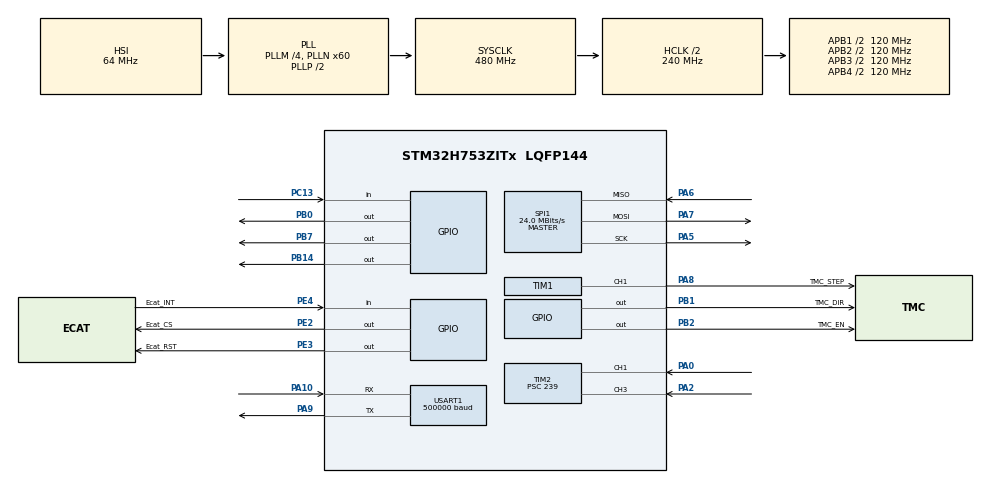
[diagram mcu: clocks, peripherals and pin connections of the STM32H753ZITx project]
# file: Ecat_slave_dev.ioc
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CORTEX_M7.AccessPermission_Spec=MPU_REGION_FULL_ACCESS
CORTEX_M7.BaseAddress_Spec=0x20000000
CORTEX_M7.CPU_DCache=Disabled
CORTEX_M7.CPU_ICache=Disabled
CORTEX_M7.MPU_Control=MPU_HFNMI_PRIVDEF
CORTEX_M7.Size_Spec=MPU_REGION_SIZE_32KB
CORTEX_M7.SubRegionDisable_Spec=0x00
CORTEX_M7.TypeExtField_Spec=MPU_TEX_LEVEL1
CORTEX_M7.default_mode_Activation=1
Dma.Request0=USART1_RX
Dma.Request1=USART1_TX
Dma.USART1_RX.0.Direction=DMA_PERIPH_TO_MEMORY
Dma.USART1_RX.0.EventEnable=DISABLE
Dma.USART1_RX.0.FIFOMode=DMA_FIFOMODE_DISABLE
Dma.USART1_RX.0.Instance=DMA1_Stream0
Dma.USART1_RX.0.MemDataAlignment=DMA_MDATAALIGN_BYTE
Dma.USART1_RX.0.MemInc=DMA_MINC_ENABLE
Dma.USART1_RX.0.Mode=DMA_NORMAL
Dma.USART1_RX.0.PeriphDataAlignment=DMA_PDATAALIGN_BYTE
Dma.USART1_RX.0.PeriphInc=DMA_PINC_DISABLE
Dma.USART1_RX.0.Polarity=HAL_DMAMUX_REQ_GEN_RISING
Dma.USART1_RX.0.Priority=DMA_PRIORITY_VERY_HIGH
Dma.USART1_RX.0.RequestNumber=1
Dma.USART1_RX.0.SignalID=NONE
Dma.USART1_RX.0.SyncEnable=DISABLE
Dma.USART1_RX.0.SyncPolarity=HAL_DMAMUX_SYNC_NO_EVENT
Dma.USART1_RX.0.SyncRequestNumber=1
Dma.USART1_RX.0.SyncSignalID=NONE
Dma.USART1_TX.1.Direction=DMA_MEMORY_TO_PERIPH
Dma.USART1_TX.1.EventEnable=DISABLE
Dma.USART1_TX.1.FIFOMode=DMA_FIFOMODE_DISABLE
Dma.USART1_TX.1.Instance=DMA1_Stream1
Dma.USART1_TX.1.MemDataAlignment=DMA_MDATAALIGN_BYTE
Dma.USART1_TX.1.MemInc=DMA_MINC_ENABLE
Dma.USART1_TX.1.Mode=DMA_NORMAL
Dma.USART1_TX.1.PeriphDataAlignment=DMA_PDATAALIGN_BYTE
Dma.USART1_TX.1.PeriphInc=DMA_PINC_DISABLE
Dma.USART1_TX.1.Polarity=HAL_DMAMUX_REQ_GEN_RISING
Dma.USART1_TX.1.Priority=DMA_PRIORITY_VERY_HIGH
Dma.USART1_TX.1.RequestNumber=1
Dma.USART1_TX.1.SignalID=NONE
Dma.USART1_TX.1.SyncEnable=DISABLE
Dma.USART1_TX.1.SyncPolarity=HAL_DMAMUX_SYNC_NO_EVENT
Dma.USART1_TX.1.SyncRequestNumber=1
Dma.USART1_TX.1.SyncSignalID=NONE
Mcu.Family=STM32H7
Mcu.Name=STM32H753ZITx
Mcu.Package=LQFP144
NUCLEO-H753ZI.BUTTON=1
NUCLEO-H753ZI.Bsp_Common_DEMO=true
NUCLEO-H753ZI.LD1=true
NUCLEO-H753ZI.LD2=true
NUCLEO-H753ZI.LD3=true
NUCLEO-H753ZI.VCP=true
NVIC.DMA1_Stream0_IRQn=true\:0\:0\:false\:false\:true\:false\:true\:true
NVIC.DMA1_Stream1_IRQn=true\:0\:0\:false\:false\:true\:false\:true\:true
NVIC.EXTI15_10_IRQn=true\:0\:0\:false\:false\:true\:false\:true\:true
NVIC.PriorityGroup=NVIC_PRIORITYGROUP_4
NVIC.TIM1_CC_IRQn=true\:0\:0\:false\:false\:true\:true\:true\:true
NVIC.TIM2_IRQn=true\:0\:0\:false\:false\:true\:true\:true\:true
NVIC.USART1_IRQn=true\:0\:0\:false\:false\:true\:true\:true\:true
PA0.Signal=S_TIM2_CH1_ETR
PA10.GPIO_PuPd=GPIO_PULLUP
PA10.GPIO_Speed=GPIO_SPEED_FREQ_VERY_HIGH
PA10.Mode=Asynchronous
PA10.Signal=USART1_RX
PA13\ (JTMS/SWDIO).Mode=JTAG_5_pins
PA13\ (JTMS/SWDIO).Signal=DEBUG_JTMS-SWDIO
PA14\ (JTCK/SWCLK).Mode=JTAG_5_pins
PA14\ (JTCK/SWCLK).Signal=DEBUG_JTCK-SWCLK
PA15\ (JTDI).Mode=JTAG_5_pins
PA15\ (JTDI).Signal=DEBUG_JTDI
PA2.Signal=S_TIM2_CH3
PA5.GPIO_Speed=GPIO_SPEED_FREQ_MEDIUM
PA5.Mode=Full_Duplex_Master
PA5.Signal=SPI1_SCK
PA6.GPIO_Speed=GPIO_SPEED_FREQ_LOW
PA6.Mode=Full_Duplex_Master
PA6.Signal=SPI1_MISO
PA7.GPIO_Speed=GPIO_SPEED_FREQ_MEDIUM
PA7.Mode=Full_Duplex_Master
PA7.Signal=SPI1_MOSI
PA8.GPIO_Label=TMC_STEP
PA8.Signal=S_TIM1_CH1
PA9.GPIO_ModeDefaultOD=GPIO_MODE_AF_PP
PA9.GPIO_PuPd=GPIO_PULLUP
PA9.GPIO_Speed=GPIO_SPEED_FREQ_VERY_HIGH
PA9.Mode=Asynchronous
PA9.Signal=USART1_TX
PB0.Signal=GPIO_Output
PB1.GPIO_Label=TMC_DIR
PB1.Signal=GPIO_Output
PB14.Signal=GPIO_Output
PB2.GPIO_Label=TMC_EN
PB2.PinState=GPIO_PIN_SET
PB2.Signal=GPIO_Output
PB3\ (JTDO/TRACESWO).Mode=JTAG_5_pins
PB3\ (JTDO/TRACESWO).Signal=DEBUG_JTDO-SWO
PB4\ (NJTRST).Mode=JTAG_5_pins
PB4\ (NJTRST).Signal=DEBUG_JTRST
PB7.Signal=GPIO_Output
PC13.Signal=GPIO_Input
PC14-OSC32_IN\ (OSC32_IN).Signal=RCC_OSC32_IN
PC15-OSC32_OUT\ (OSC32_OUT).Signal=RCC_OSC32_OUT
PD8.Signal=USART3_TX
PD9.Signal=USART3_RX
PE2.GPIO_Label=Ecat_CS
PE2.PinState=GPIO_PIN_SET
PE2.Signal=GPIO_Output
PE3.GPIO_Label=Ecat_RST
PE3.GPIO_PuPd=GPIO_PULLUP
PE3.PinState=GPIO_PIN_SET
PE3.Signal=GPIO_Output
PE4.GPIO_Label=Ecat_INT
PE4.Signal=GPIO_Input
PH0-OSC_IN\ (PH0).Signal=RCC_OSC_IN
PH1-OSC_OUT\ (PH1).Signal=RCC_OSC_OUT
ProjectManager.HeapSize=0x200
ProjectManager.StackSize=0x400
ProjectManager.TargetToolchain=STM32CubeIDE
RCC.ADCFreq_Value=129000000
RCC.APB1Freq_Value=120000000
RCC.APB2Freq_Value=120000000
RCC.APB3Freq_Value=120000000
RCC.APB4Freq_Value=120000000
RCC.CortexFreq_Value=480000000
RCC.D1PPRE=RCC_APB3_DIV2
RCC.D2PPRE1=RCC_APB1_DIV2
RCC.D2PPRE2=RCC_APB2_DIV2
RCC.D3PPRE=RCC_APB4_DIV2
RCC.DIVM1=4
RCC.DIVN1=60
RCC.DIVQ1=5
RCC.DIVR1=6
RCC.HCLKFreq_Value=240000000
RCC.HPRE=RCC_HCLK_DIV2
RCC.HSE_VALUE=8000000
RCC.PLL2FRACN=0
RCC.PLL3FRACN=0
RCC.PLLFRACN=0
RCC.PWR_Regulator_Voltage_Scale=PWR_REGULATOR_VOLTAGE_SCALE0
RCC.SYSCLKFreq_VALUE=480000000
RCC.SYSCLKSource=RCC_SYSCLKSOURCE_PLLCLK
RCC.USBFreq_Value=192000000
SH.S_TIM1_CH1.0=TIM1_CH1,PWM Generation1 CH1
SH.S_TIM2_CH1_ETR.0=TIM2_CH1,Input_Capture1_from_TI1
SH.S_TIM2_CH3.0=TIM2_CH3,Input_Capture3_from_TI3
SPI1.BaudRatePrescaler=SPI_BAUDRATEPRESCALER_8
SPI1.CLKPhase=SPI_PHASE_2EDGE
SPI1.CLKPolarity=SPI_POLARITY_HIGH
SPI1.CalculateBaudRate=24.0 MBits/s
SPI1.DataSize=SPI_DATASIZE_8BIT
SPI1.Direction=SPI_DIRECTION_2LINES
SPI1.Mode=SPI_MODE_MASTER
SPI1.NSSPMode=SPI_NSS_PULSE_DISABLE
SPI1.VirtualType=VM_MASTER
TIM1.AutoReloadPreload=TIM_AUTORELOAD_PRELOAD_ENABLE
TIM1.Channel-PWM\ Generation1\ CH1=TIM_CHANNEL_1
TIM1.Period=11999
TIM1.TIM_MasterOutputTrigger=TIM_TRGO_UPDATE
TIM2.AutoReloadPreload=TIM_AUTORELOAD_PRELOAD_ENABLE
TIM2.Channel-Input_Capture1_from_TI1=TIM_CHANNEL_1
TIM2.Channel-Input_Capture3_from_TI3=TIM_CHANNEL_3
TIM2.Period=999
TIM2.Prescaler=239
USART1.BaudRate=500000
USART1.FIFOMode=FIFOMODE_DISABLE
USART1.RXFIFOThreshold=RXFIFO_THRESHOLD_HALFFULL
USART1.TXFIFOThreshold=TXFIFO_THRESHOLD_1QUARTERFULL
USART1.VirtualMode-Asynchronous=VM_ASYNC
VP_MEMORYMAP_VS_MEMORYMAP.Mode=CurAppReg
VP_NUCLEO-H753ZI_VS_BSP_COMMON.Mode=COMMON
VP_TIM1_VS_ClockSourceINT.Mode=Internal
VP_TIM3_VS_ClockSourceITR.Mode=TriggerSource_ITR0
VP_TIM3_VS_ControllerModeClock.Mode=Clock Mode
board=NUCLEO-H753ZI

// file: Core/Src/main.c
/* USER CODE BEGIN Header */
/**
  ******************************************************************************
  * @file           : main.c
  * @brief          : Main program body
  ******************************************************************************
  * @attention
  *
  * Copyright (c) 2026 STMicroelectronics.
  * All rights reserved.
  *
  * This software is licensed under terms that can be found in the LICENSE file
  * in the root directory of this software component.
  * If no LICENSE file comes with this software, it is provided AS-IS.
  *
  ******************************************************************************
  */
/* USER CODE END Header */
#include "main.h"

/* USER CODE BEGIN Includes */
#include "ecat_slv.h"
#include "utypes.h"
#include "TMC2209_usart.h"
#include "global.h"
/* USER CODE END Includes */

/* USER CODE BEGIN PTD */
// 1. 모터 음계 VACTUAL 속도 정의 (4옥타브 기준 주파수 계산값)
#define NOTE_C 94000   // 도
#define NOTE_D 105000  // 레
#define NOTE_E 118000  // 미
#define NOTE_G 140000  // 솔
#define REST   0       // 쉼표 (정지)

#define NOTE_A3 78000
#define NOTE_B3 88000
#define NOTE_C4 93000
#define NOTE_D4 105000
#define NOTE_E4 118000
#define NOTE_G4 140000
#define NOTE_A4 157000
#define REST    0
#define DRV_ERROR_MASK 0xFE0 // 이 비트들 중 1개라도 1인 경우 구동에 문제가 생기는 하드웨어적 오류임

// 2. 비행기 계명 배열 (미-레-도-레-미-미-미...)
uint32_t melody[] = {
    NOTE_E, NOTE_D, NOTE_C, NOTE_D, NOTE_E, NOTE_E, NOTE_E,
    NOTE_D, NOTE_D, NOTE_D, NOTE_E, NOTE_G, NOTE_G,
    NOTE_E, NOTE_D, NOTE_C, NOTE_D, NOTE_E, NOTE_E, NOTE_E,
    NOTE_D, NOTE_D, NOTE_E, NOTE_D, NOTE_C
};

// 3. 각 음표의 길이 배열 (박자, ms 단위)
// 400은 4분음표(짧게), 800은 2분음표(길게), 1200은 점2분음표입니다.
uint32_t noteDurations[] = {
    400, 400, 400, 400, 400, 400, 800,
    400, 400, 800, 400, 400, 800,
    400, 400, 400, 400, 400, 400, 800,
    400, 400, 400, 400, 1200
};

/* USER CODE END PTD */

COM_InitTypeDef BspCOMInit;
__IO uint32_t BspButtonState = BUTTON_RELEASED;

SPI_HandleTypeDef hspi1;

TIM_HandleTypeDef htim1;
TIM_HandleTypeDef htim2;
TIM_HandleTypeDef htim3;

UART_HandleTypeDef huart1;
DMA_HandleTypeDef hdma_usart1_rx;
DMA_HandleTypeDef hdma_usart1_tx;

/* USER CODE BEGIN PV */
uint32_t g_StatusWord[MAX_AXIS] = {0x250, 0x250, 0x250, 0x250}; // 축별 상태정보 변수
bool g_is_homed[MAX_AXIS] = {false, false, false, false}; // 축별 홈 포지션 도착 정보 변수
uint32_t g_drv_status[MAX_AXIS] = {0x0, }; // 축별 제어 드라이버 상태 레지스터 32비트 정보
int32_t g_Actual_Pos[MAX_AXIS] = {0, }; // 축별 현위치

//레지스터 32비트 종류
uint16_t g_motcur[MAX_AXIS] = {0, }; // 축별 모터 전류 값
bool g_stealthMode[MAX_AXIS] = {NULL, NULL, NULL, NULL};
volatile bool g_hwErr[MAX_AXIS] = {0, };
bool gw_overtemp_pre[MAX_AXIS] = {false, false, false, false};
bool gw_overtemp[MAX_AXIS] 	   = {false, false, false, false};
bool gw_overtemp_120[MAX_AXIS] = {false, false, false, false};
bool gw_overtemp_143[MAX_AXIS] = {false, false, false, false};
bool gw_overtemp_150[MAX_AXIS] = {false, false, false, false};
bool gw_overtemp_157[MAX_AXIS] = {false, false, false, false};
bool gw_shortGND_A[MAX_AXIS] = {false, false, false, false};
bool gw_shortGND_B[MAX_AXIS] = {false, false, false, false};
bool gw_shortMos[MAX_AXIS] 	 = {false, false, false, false};
bool gw_openload_A[MAX_AXIS] = {false, false, false, false};
bool gw_openload_B[MAX_AXIS] = {false, false, false, false};

/* USER CODE END PV */

void SystemClock_Config(void);
static void MPU_Config(void);
static void MX_GPIO_Init(void);
static void MX_DMA_Init(void);
static void MX_SPI1_Init(void);
static void MX_USART1_UART_Init(void);
static void MX_TIM1_Init(void);
static void MX_TIM2_Init(void);
static void MX_TIM3_Init(void);
/* USER CODE BEGIN PFP */
void SPI_Read(uint16_t address, void *buf, uint16_t len);
uint8_t LAN9252_HW_Init(void);
void togglepower(void);
void estegg(void);
void ethercat_chip_check(void);
void TMC_statecheck(void);
void TMC_statecheck_DMA(void);
extern void servo_on(int axis);
extern void servo_off(int axis);
extern void ec_valinit();
extern void CalcMotion(int axis);
extern uint32_t motCtrl(uint8_t axis);
extern void CiA402_StateMachine(int axis);
extern void DWT_Delay_Init(void);
extern uint8_t tmc_tx_buf[8];
extern uint8_t tmc_rx_buf[16];
extern volatile uint8_t tmc_dma_state;
extern volatile uint32_t tmc_last_result;
extern volatile uint8_t current_reading_axis;
/* USER CODE END PFP */

/* USER CODE BEGIN 0 */
//// 1. 마스터로 보낼 데이터 업데이트 (TxPDO)
//void cb_get_inputs(void) {
//	for (int axis = 0; axis < MAX_AXIS; axis++){
//		Wb.axis[axis].actual_pos = g_Actual_Pos[axis]; // ⭐️ 변경점
//		Wb.axis[axis].status_word = g_StatusWord[axis];// ⭐️ 변경점
//        Wb.axis[axis].error_code = 0;
//	}
//}

// 1. 마스터로 보낼 데이터 업데이트 (TxPDO)-mm/s
void cb_get_inputs(void) {
    for (int axis = 0; axis < 1; axis++){
        // --- [수정된 부분] 누적된 내부 펄스 카운트를 mm 단위로 변환하여 송신 ---
        // PULSES_PER_MM은 main.c 상단이나 global.h 등에 extern/매크로로 공유해야 합니다.
        Wb.axis[axis].actual_pos = (int32_t)(g_Actual_Pos[axis] / ((200.0f * 16.0f) / 40.0f));
        // ---------------------------------------------------------------------
        Wb.axis[axis].status_word = g_StatusWord[axis];
        Wb.axis[axis].error_code = 0;
    }
}

// 2. 마스터에서 온 데이터 적용 (RxPDO)
void cb_set_outputs(void) {
    if (ESCvar.ALstatus == ESC_AL_STATUS_OP) {
            for (int axis = 0; axis < 1; axis++) {//need to fix. 1 => MAX_AXIS
                CiA402_StateMachine(axis);
                // ⭐️ Wb 대신 내부 상태인 g_StatusWord를 확인
                if ((g_StatusWord[axis] & 0x0237) == 0x0237) {
                    CalcMotion(axis);
                }
            }
        } else {
            for (int axis = 0; axis < 4; axis++) {
                servo_off(axis);
            }
        }
    SCB_CleanDCache_by_Addr((uint32_t *)&Rb, sizeof(_Rbuffer));
}

// 3. SOES 스택 설정 구조체 연결
static esc_cfg_t config = {
    .user_arg = NULL,
    .use_interrupt = 0,
    .watchdog_cnt = 1000,

    .application_hook = cb_set_outputs, // 루프마다 실행될 함수 (데이터 적용)
    .safeoutput_override = NULL,
};
/* USER CODE END 0 */

int main(void)
{

  /* MPU Configuration--------------------------------------------------------*/
  MPU_Config();

  /* MCU Configuration--------------------------------------------------------*/

  /* Reset of all peripherals, Initializes the Flash interface and the Systick. */
  HAL_Init();

  /* Configure the system clock */
  SystemClock_Config();

  /* Initialize all configured peripherals */
  MX_GPIO_Init();
  MX_DMA_Init();
  MX_SPI1_Init();
  MX_USART1_UART_Init();
  MX_TIM1_Init();
  MX_TIM2_Init();
  MX_TIM3_Init();

  /* Initialize leds */
  BSP_LED_Init(LED_GREEN);
  BSP_LED_Init(LED_BLUE);
  BSP_LED_Init(LED_RED);

  /* Initialize USER push-button, will be used to trigger an interrupt each time it's pressed.*/
  BSP_PB_Init(BUTTON_USER, BUTTON_MODE_EXTI);

  /* Initialize COM1 port (115200, 8 bits (7-bit data + 1 stop bit), no parity */
  BspCOMInit.BaudRate   = 115200;
  BspCOMInit.WordLength = COM_WORDLENGTH_8B;
  BspCOMInit.StopBits   = COM_STOPBITS_1;
  BspCOMInit.Parity     = COM_PARITY_NONE;
  BspCOMInit.HwFlowCtl  = COM_HWCONTROL_NONE;
  if (BSP_COM_Init(COM1, &BspCOMInit) != BSP_ERROR_NONE)
  {
    Error_Handler();
  }

  /* USER CODE BEGIN BSP */

  /* -- Sample board code to switch on leds ---- */
  ec_valinit();
  ethercat_chip_check();
  BSP_LED_On(LED_RED);
  ecat_slv_init(&config);
  BSP_LED_On(LED_BLUE);

  HAL_TIM_PWM_Start(&htim1, TIM_CHANNEL_1); // PWM Timer init
  HAL_TIM_Base_Start_IT(&htim2); // ethercat timer init with interrupt
  HAL_TIM_Base_Start(&htim3);

  //DWT_Delay_Init();

  BSP_LED_On(LED_GREEN);
  /* USER CODE END BSP */

  /* Infinite loop */
  /* USER CODE BEGIN WHILE */
  //servo_on(0);
//  estegg();
//  HAL_Delay(1000);

  //motCtrl(0);

  uint32_t debug_buf[32] = {0,};
  while (1)
  {
	  //TMC_statecheck_DMA();
	  if (HAL_GPIO_ReadPin(GPIOC, GPIO_PIN_13) == GPIO_PIN_SET) {
	      // 버튼이 눌렸을 때 동작
		  togglepower();
	  }
	  //ethercat register read func
	  //ESC_read(0x110, debug_buf, 4);
    /* USER CODE END WHILE */

  }
}

void SystemClock_Config(void)
{
  RCC_OscInitTypeDef RCC_OscInitStruct = {0};
  RCC_ClkInitTypeDef RCC_ClkInitStruct = {0};

  /** Supply configuration update enable
  */
  HAL_PWREx_ConfigSupply(PWR_LDO_SUPPLY);

  /** Configure the main internal regulator output voltage
  */
  __HAL_PWR_VOLTAGESCALING_CONFIG(PWR_REGULATOR_VOLTAGE_SCALE0);

  while(!__HAL_PWR_GET_FLAG(PWR_FLAG_VOSRDY)) {}

  /** Initializes the RCC Oscillators according to the specified parameters
  * in the RCC_OscInitTypeDef structure.
  */
  RCC_OscInitStruct.OscillatorType = RCC_OSCILLATORTYPE_HSI;
  RCC_OscInitStruct.HSIState = RCC_HSI_DIV1;
  RCC_OscInitStruct.HSICalibrationValue = RCC_HSICALIBRATION_DEFAULT;
  RCC_OscInitStruct.PLL.PLLState = RCC_PLL_ON;
  RCC_OscInitStruct.PLL.PLLSource = RCC_PLLSOURCE_HSI;
  RCC_OscInitStruct.PLL.PLLM = 4;
  RCC_OscInitStruct.PLL.PLLN = 60;
  RCC_OscInitStruct.PLL.PLLP = 2;
  RCC_OscInitStruct.PLL.PLLQ = 5;
  RCC_OscInitStruct.PLL.PLLR = 6;
  RCC_OscInitStruct.PLL.PLLRGE = RCC_PLL1VCIRANGE_3;
  RCC_OscInitStruct.PLL.PLLVCOSEL = RCC_PLL1VCOWIDE;
  RCC_OscInitStruct.PLL.PLLFRACN = 0;
  if (HAL_RCC_OscConfig(&RCC_OscInitStruct) != HAL_OK)
  {
    Error_Handler();
  }

  /** Initializes the CPU, AHB and APB buses clocks
  */
  RCC_ClkInitStruct.ClockType = RCC_CLOCKTYPE_HCLK|RCC_CLOCKTYPE_SYSCLK
                              |RCC_CLOCKTYPE_PCLK1|RCC_CLOCKTYPE_PCLK2
                              |RCC_CLOCKTYPE_D3PCLK1|RCC_CLOCKTYPE_D1PCLK1;
  RCC_ClkInitStruct.SYSCLKSource = RCC_SYSCLKSOURCE_PLLCLK;
  RCC_ClkInitStruct.SYSCLKDivider = RCC_SYSCLK_DIV1;
  RCC_ClkInitStruct.AHBCLKDivider = RCC_HCLK_DIV2;
  RCC_ClkInitStruct.APB3CLKDivider = RCC_APB3_DIV2;
  RCC_ClkInitStruct.APB1CLKDivider = RCC_APB1_DIV2;
  RCC_ClkInitStruct.APB2CLKDivider = RCC_APB2_DIV2;
  RCC_ClkInitStruct.APB4CLKDivider = RCC_APB4_DIV2;

  if (HAL_RCC_ClockConfig(&RCC_ClkInitStruct, FLASH_LATENCY_4) != HAL_OK)
  {
    Error_Handler();
  }
}

static void MX_SPI1_Init(void)
{

  /* SPI1 parameter configuration*/
  hspi1.Instance = SPI1;
  hspi1.Init.Mode = SPI_MODE_MASTER;
  hspi1.Init.Direction = SPI_DIRECTION_2LINES;
  hspi1.Init.DataSize = SPI_DATASIZE_8BIT;
  hspi1.Init.CLKPolarity = SPI_POLARITY_HIGH;
  hspi1.Init.CLKPhase = SPI_PHASE_2EDGE;
  hspi1.Init.NSS = SPI_NSS_SOFT;
  hspi1.Init.BaudRatePrescaler = SPI_BAUDRATEPRESCALER_8;
  hspi1.Init.FirstBit = SPI_FIRSTBIT_MSB;
  hspi1.Init.TIMode = SPI_TIMODE_DISABLE;
  hspi1.Init.CRCCalculation = SPI_CRCCALCULATION_DISABLE;
  hspi1.Init.CRCPolynomial = 0x0;
  hspi1.Init.NSSPMode = SPI_NSS_PULSE_DISABLE;
  hspi1.Init.NSSPolarity = SPI_NSS_POLARITY_LOW;
  hspi1.Init.FifoThreshold = SPI_FIFO_THRESHOLD_01DATA;
  hspi1.Init.TxCRCInitializationPattern = SPI_CRC_INITIALIZATION_ALL_ZERO_PATTERN;
  hspi1.Init.RxCRCInitializationPattern = SPI_CRC_INITIALIZATION_ALL_ZERO_PATTERN;
  hspi1.Init.MasterSSIdleness = SPI_MASTER_SS_IDLENESS_00CYCLE;
  hspi1.Init.MasterInterDataIdleness = SPI_MASTER_INTERDATA_IDLENESS_00CYCLE;
  hspi1.Init.MasterReceiverAutoSusp = SPI_MASTER_RX_AUTOSUSP_DISABLE;
  hspi1.Init.MasterKeepIOState = SPI_MASTER_KEEP_IO_STATE_DISABLE;
  hspi1.Init.IOSwap = SPI_IO_SWAP_DISABLE;
  if (HAL_SPI_Init(&hspi1) != HAL_OK)
  {
    Error_Handler();
  }

}

static void MX_TIM1_Init(void)
{

  TIM_ClockConfigTypeDef sClockSourceConfig = {0};
  TIM_MasterConfigTypeDef sMasterConfig = {0};
  TIM_OC_InitTypeDef sConfigOC = {0};
  TIM_BreakDeadTimeConfigTypeDef sBreakDeadTimeConfig = {0};

  htim1.Instance = TIM1;
  htim1.Init.Prescaler = 0;
  htim1.Init.CounterMode = TIM_COUNTERMODE_UP;
  htim1.Init.Period = 11999;
  htim1.Init.ClockDivision = TIM_CLOCKDIVISION_DIV1;
  htim1.Init.RepetitionCounter = 0;
  htim1.Init.AutoReloadPreload = TIM_AUTORELOAD_PRELOAD_ENABLE;
  if (HAL_TIM_Base_Init(&htim1) != HAL_OK)
  {
    Error_Handler();
  }
  sClockSourceConfig.ClockSource = TIM_CLOCKSOURCE_INTERNAL;
  if (HAL_TIM_ConfigClockSource(&htim1, &sClockSourceConfig) != HAL_OK)
  {
    Error_Handler();
  }
  if (HAL_TIM_PWM_Init(&htim1) != HAL_OK)
  {
    Error_Handler();
  }
  sMasterConfig.MasterOutputTrigger = TIM_TRGO_UPDATE;
  sMasterConfig.MasterOutputTrigger2 = TIM_TRGO2_RESET;
  sMasterConfig.MasterSlaveMode = TIM_MASTERSLAVEMODE_DISABLE;
  if (HAL_TIMEx_MasterConfigSynchronization(&htim1, &sMasterConfig) != HAL_OK)
  {
    Error_Handler();
  }
  sConfigOC.OCMode = TIM_OCMODE_PWM1;
  sConfigOC.Pulse = 0;
  sConfigOC.OCPolarity = TIM_OCPOLARITY_HIGH;
  sConfigOC.OCNPolarity = TIM_OCNPOLARITY_HIGH;
  sConfigOC.OCFastMode = TIM_OCFAST_DISABLE;
  sConfigOC.OCIdleState = TIM_OCIDLESTATE_RESET;
  sConfigOC.OCNIdleState = TIM_OCNIDLESTATE_RESET;
  if (HAL_TIM_PWM_ConfigChannel(&htim1, &sConfigOC, TIM_CHANNEL_1) != HAL_OK)
  {
    Error_Handler();
  }
  sBreakDeadTimeConfig.OffStateRunMode = TIM_OSSR_DISABLE;
  sBreakDeadTimeConfig.OffStateIDLEMode = TIM_OSSI_DISABLE;
  sBreakDeadTimeConfig.LockLevel = TIM_LOCKLEVEL_OFF;
  sBreakDeadTimeConfig.DeadTime = 0;
  sBreakDeadTimeConfig.BreakState = TIM_BREAK_DISABLE;
  sBreakDeadTimeConfig.BreakPolarity = TIM_BREAKPOLARITY_HIGH;
  sBreakDeadTimeConfig.BreakFilter = 0;
  sBreakDeadTimeConfig.Break2State = TIM_BREAK2_DISABLE;
  sBreakDeadTimeConfig.Break2Polarity = TIM_BREAK2POLARITY_HIGH;
  sBreakDeadTimeConfig.Break2Filter = 0;
  sBreakDeadTimeConfig.AutomaticOutput = TIM_AUTOMATICOUTPUT_DISABLE;
  if (HAL_TIMEx_ConfigBreakDeadTime(&htim1, &sBreakDeadTimeConfig) != HAL_OK)
  {
    Error_Handler();
  }
  HAL_TIM_MspPostInit(&htim1);

}

static void MX_TIM2_Init(void)
{

  TIM_MasterConfigTypeDef sMasterConfig = {0};
  TIM_IC_InitTypeDef sConfigIC = {0};

  htim2.Instance = TIM2;
  htim2.Init.Prescaler = 239;
  htim2.Init.CounterMode = TIM_COUNTERMODE_UP;
  htim2.Init.Period = 999;
  htim2.Init.ClockDivision = TIM_CLOCKDIVISION_DIV1;
  htim2.Init.AutoReloadPreload = TIM_AUTORELOAD_PRELOAD_ENABLE;
  if (HAL_TIM_IC_Init(&htim2) != HAL_OK)
  {
    Error_Handler();
  }
  sMasterConfig.MasterOutputTrigger = TIM_TRGO_RESET;
  sMasterConfig.MasterSlaveMode = TIM_MASTERSLAVEMODE_DISABLE;
  if (HAL_TIMEx_MasterConfigSynchronization(&htim2, &sMasterConfig) != HAL_OK)
  {
    Error_Handler();
  }
  sConfigIC.ICPolarity = TIM_INPUTCHANNELPOLARITY_RISING;
  sConfigIC.ICSelection = TIM_ICSELECTION_DIRECTTI;
  sConfigIC.ICPrescaler = TIM_ICPSC_DIV1;
  sConfigIC.ICFilter = 0;
  if (HAL_TIM_IC_ConfigChannel(&htim2, &sConfigIC, TIM_CHANNEL_1) != HAL_OK)
  {
    Error_Handler();
  }
  if (HAL_TIM_IC_ConfigChannel(&htim2, &sConfigIC, TIM_CHANNEL_3) != HAL_OK)
  {
    Error_Handler();
  }

}

static void MX_TIM3_Init(void)
{

  TIM_SlaveConfigTypeDef sSlaveConfig = {0};
  TIM_MasterConfigTypeDef sMasterConfig = {0};

  htim3.Instance = TIM3;
  htim3.Init.Prescaler = 0;
  htim3.Init.CounterMode = TIM_COUNTERMODE_UP;
  htim3.Init.Period = 65535;
  htim3.Init.ClockDivision = TIM_CLOCKDIVISION_DIV1;
  htim3.Init.AutoReloadPreload = TIM_AUTORELOAD_PRELOAD_DISABLE;
  if (HAL_TIM_Base_Init(&htim3) != HAL_OK)
  {
    Error_Handler();
  }
  sSlaveConfig.SlaveMode = TIM_SLAVEMODE_EXTERNAL1;
  sSlaveConfig.InputTrigger = TIM_TS_ITR0;
  if (HAL_TIM_SlaveConfigSynchro(&htim3, &sSlaveConfig) != HAL_OK)
  {
    Error_Handler();
  }
  sMasterConfig.MasterOutputTrigger = TIM_TRGO_RESET;
  sMasterConfig.MasterSlaveMode = TIM_MASTERSLAVEMODE_DISABLE;
  if (HAL_TIMEx_MasterConfigSynchronization(&htim3, &sMasterConfig) != HAL_OK)
  {
    Error_Handler();
  }

}

static void MX_USART1_UART_Init(void)
{

  huart1.Instance = USART1;
  huart1.Init.BaudRate = 500000;
  huart1.Init.WordLength = UART_WORDLENGTH_8B;
  huart1.Init.StopBits = UART_STOPBITS_1;
  huart1.Init.Parity = UART_PARITY_NONE;
  huart1.Init.Mode = UART_MODE_TX_RX;
  huart1.Init.HwFlowCtl = UART_HWCONTROL_NONE;
  huart1.Init.OverSampling = UART_OVERSAMPLING_16;
  huart1.Init.OneBitSampling = UART_ONE_BIT_SAMPLE_DISABLE;
  huart1.Init.ClockPrescaler = UART_PRESCALER_DIV1;
  huart1.AdvancedInit.AdvFeatureInit = UART_ADVFEATURE_NO_INIT;
  if (HAL_UART_Init(&huart1) != HAL_OK)
  {
    Error_Handler();
  }
  if (HAL_UARTEx_SetTxFifoThreshold(&huart1, UART_TXFIFO_THRESHOLD_1_4) != HAL_OK)
  {
    Error_Handler();
  }
  if (HAL_UARTEx_SetRxFifoThreshold(&huart1, UART_RXFIFO_THRESHOLD_1_2) != HAL_OK)
  {
    Error_Handler();
  }
  if (HAL_UARTEx_DisableFifoMode(&huart1) != HAL_OK)
  {
    Error_Handler();
  }

}

static void MX_DMA_Init(void)
{

  /* DMA controller clock enable */
  __HAL_RCC_DMA1_CLK_ENABLE();

  /* DMA interrupt init */
  /* DMA1_Stream0_IRQn interrupt configuration */
  HAL_NVIC_SetPriority(DMA1_Stream0_IRQn, 0, 0);
  HAL_NVIC_EnableIRQ(DMA1_Stream0_IRQn);
  /* DMA1_Stream1_IRQn interrupt configuration */
  HAL_NVIC_SetPriority(DMA1_Stream1_IRQn, 0, 0);
  HAL_NVIC_EnableIRQ(DMA1_Stream1_IRQn);

}

static void MX_GPIO_Init(void)
{
  GPIO_InitTypeDef GPIO_InitStruct = {0};

  /* GPIO Ports Clock Enable */
  __HAL_RCC_GPIOE_CLK_ENABLE();
  __HAL_RCC_GPIOC_CLK_ENABLE();
  __HAL_RCC_GPIOH_CLK_ENABLE();
  __HAL_RCC_GPIOA_CLK_ENABLE();
  __HAL_RCC_GPIOB_CLK_ENABLE();

  /*Configure GPIO pin Output Level */
  HAL_GPIO_WritePin(GPIOE, Ecat_CS_Pin|Ecat_RST_Pin, GPIO_PIN_SET);

  /*Configure GPIO pin Output Level */
  HAL_GPIO_WritePin(TMC_DIR_GPIO_Port, TMC_DIR_Pin, GPIO_PIN_RESET);

  /*Configure GPIO pin Output Level */
  HAL_GPIO_WritePin(TMC_EN_GPIO_Port, TMC_EN_Pin, GPIO_PIN_SET);

  /*Configure GPIO pin : Ecat_CS_Pin */
  GPIO_InitStruct.Pin = Ecat_CS_Pin;
  GPIO_InitStruct.Mode = GPIO_MODE_OUTPUT_PP;
  GPIO_InitStruct.Pull = GPIO_NOPULL;
  GPIO_InitStruct.Speed = GPIO_SPEED_FREQ_LOW;
  HAL_GPIO_Init(Ecat_CS_GPIO_Port, &GPIO_InitStruct);

  /*Configure GPIO pin : Ecat_RST_Pin */
  GPIO_InitStruct.Pin = Ecat_RST_Pin;
  GPIO_InitStruct.Mode = GPIO_MODE_OUTPUT_PP;
  GPIO_InitStruct.Pull = GPIO_PULLUP;
  GPIO_InitStruct.Speed = GPIO_SPEED_FREQ_LOW;
  HAL_GPIO_Init(Ecat_RST_GPIO_Port, &GPIO_InitStruct);

  /*Configure GPIO pin : Ecat_INT_Pin */
  GPIO_InitStruct.Pin = Ecat_INT_Pin;
  GPIO_InitStruct.Mode = GPIO_MODE_INPUT;
  GPIO_InitStruct.Pull = GPIO_NOPULL;
  HAL_GPIO_Init(Ecat_INT_GPIO_Port, &GPIO_InitStruct);

  /*Configure GPIO pins : TMC_DIR_Pin TMC_EN_Pin */
  GPIO_InitStruct.Pin = TMC_DIR_Pin|TMC_EN_Pin;
  GPIO_InitStruct.Mode = GPIO_MODE_OUTPUT_PP;
  GPIO_InitStruct.Pull = GPIO_NOPULL;
  GPIO_InitStruct.Speed = GPIO_SPEED_FREQ_LOW;
  HAL_GPIO_Init(GPIOB, &GPIO_InitStruct);

}

/* USER CODE BEGIN 4 */
void ethercat_chip_check()
{
restart:
  //---------------------LAN9252 ID Check---------------------------------
  // 1. 송신 버퍼 세팅: Fast Read(0x0B) + 주소(0x0050) + 더미(0x00) + 데이터 받을 빈 공간 4칸
  uint8_t tx_buf[8] = {0x0B, 0x00, 0x50, 0x00, 0x00, 0x00, 0x00, 0x00}; // TODO: 버퍼에 패킷 추가하기. 프로토콜 변경.
  uint8_t rx_buf[8] = {0};

  // 2. CS 핀 Low (PE2)
  HAL_GPIO_WritePin(GPIOE, GPIO_PIN_2, GPIO_PIN_RESET);

  HAL_SPI_TransmitReceive(&hspi1, tx_buf, rx_buf, 8, HAL_MAX_DELAY);
  // 4. CS 핀 High (PE2)
  HAL_GPIO_WritePin(GPIOE, GPIO_PIN_2, GPIO_PIN_SET);
  // 5. 앞의 4바이트(명령어 구간) 쓰레기값 무시하고 뒤의 4바이트 조립
  volatile uint32_t verify_id = rx_buf[4] | (rx_buf[5] << 8) | (rx_buf[6] << 16) | (rx_buf[7] << 24);

  (void)verify_id;

  __NOP();
  //------------------------------------------------------
  if(verify_id != 0x92520001)
  {
	  BSP_LED_Off(LED_RED);
	  //goto restart;
  }
}

void togglepower()
{
    if((HAL_GPIO_ReadPin(GPIOC, GPIO_PIN_13) == GPIO_PIN_SET)){
    	HAL_GPIO_TogglePin(GPIOB, GPIO_PIN_2);
    	while (HAL_GPIO_ReadPin(GPIOC, GPIO_PIN_13) == GPIO_PIN_SET);
    }
}

//EtherCAT Timer - 1ms
void HAL_TIM_PeriodElapsedCallback(TIM_HandleTypeDef *htim)
{
    if (htim->Instance == TIM2)
    {
    	uint32_t start_tick = DWT_GetTick();
        // 동작 확인을 위해 보드의 LED를 토글해볼 수 있습니다.
        //cnt%2 == 0 ? BSP_LED_On(LED_RED) : BSP_LED_Off(LED_RED);
    	ecat_slv();
    	//TMC_statecheck_DMA();
    	uint32_t end_tick = DWT_GetTick();
    	uint32_t spendtime = end_tick - start_tick;
    }
}

//Read TMC Status Register
void TMC_statecheck()
{
	for (int i = 0; i < 1; i++) {
	    // UART로 DRV_STATUS를 천천히 읽어옴
//		if(0<i)
//			continue;
		TMC2209_WriteRegister(&huart1, i, 0x00, 0x000000C0);
		//delay_us(100);
	    uint32_t drv_status = TMC2209_ReadRegister(&huart1, i, 0x6F);//레지스터 주소 확인 필요
	    // TMC2208 Chip Error check
	    if ((drv_status & DRV_ERROR_MASK) != 0){
	    	g_hwErr[i] = true; // 비정상 ==> 비정상인 경우 해결될때까지 모터 구동 대기 함수 필요
	    }
//	    else {
//	    	//g_hwErr[i] = false; // 정상화 되면 복귀 지양
//	    }
	}
}

void TMC_statecheck_DMA() {
    static uint8_t axis_to_check = 0;

    // 1. DMA가 아무 일도 안 하고 쉴 때 (새로운 읽기 명령 하달)
    if (tmc_dma_state == 0) {
        TMC_ReadRegister_DMA_Start(&huart1, axis_to_check, 0x6F);
    }

    // 2. DMA가 수신까지 완벽하게 끝냈을 때 (데이터 수거)
    else if (tmc_dma_state == 3) {
        // 읽어온 값(tmc_last_result)을 에러 마스크로 체크
        if ((tmc_last_result & DRV_ERROR_MASK) != 0) {
            g_hwErr[current_reading_axis] = true;
        }
        // 다음 축으로 넘어가기 준비
        //axis_to_check++;
        if (axis_to_check >= MAX_AXIS) axis_to_check = 0;

        tmc_dma_state = 0; // 다시 Idle 상태로 (다음 루프에서 새로운 읽기 시작)
    }
}

void estegg()
{
/* ========================================================== */
  /* 🎵 스텝 모터 연주 프로그램: "비행기 (Airplane)" 🎵 */ // --> 이스터에그 노잼. 더 재밋는걸로 하세요
  /* ========================================================== */
  int totalNotes = sizeof(melody) / sizeof(melody[0]);

  // 4. 연주 시작 전 1초 대기
  HAL_Delay(1000);

  // 5. 악보를 읽으며 연주 시작!
  for (int i = 0; i < totalNotes; i++) {
      // 음표의 속도로 모터 회전 (소리 내기)
      TMC2209_WriteRegister(&huart1, 0x00, 0x22, melody[i]);

      // 음표의 길이만큼 유지하되, 음과 음 사이를 구분하기 위해 끝부분 50ms는 뺍니다. --> GPT 쓴거 다티나죠
      HAL_Delay(noteDurations[i] - 50);

      // ⭐️ 핵심: 음이 뭉개지지 않도록(스타카토 느낌) 아주 잠깐 모터를 세워줍니다.
      TMC2209_WriteRegister(&huart1, 0x00, 0x22, REST);
      HAL_Delay(50);
  }

  // 6. 연주가 끝나면 모터 정지 --> TODO: 모터 정지하지 말고 풀로 돌리기
  TMC2209_WriteRegister(&huart1, 0x00, 0x22, 0);
}
/* USER CODE END 4 */

 /* MPU Configuration */

void MPU_Config(void)
{
  MPU_Region_InitTypeDef MPU_InitStruct = {0};

  /* Disables the MPU */
  HAL_MPU_Disable();

  /** Initializes and configures the Region and the memory to be protected
  */
  MPU_InitStruct.Enable = MPU_REGION_ENABLE;
  MPU_InitStruct.Number = MPU_REGION_NUMBER0;
  MPU_InitStruct.BaseAddress = 0x20000000;
  MPU_InitStruct.Size = MPU_REGION_SIZE_32KB;
  MPU_InitStruct.SubRegionDisable = 0x00;
  MPU_InitStruct.TypeExtField = MPU_TEX_LEVEL1;
  MPU_InitStruct.AccessPermission = MPU_REGION_FULL_ACCESS;
  MPU_InitStruct.DisableExec = MPU_INSTRUCTION_ACCESS_DISABLE;
  MPU_InitStruct.IsShareable = MPU_ACCESS_SHAREABLE;
  MPU_InitStruct.IsCacheable = MPU_ACCESS_NOT_CACHEABLE;
  MPU_InitStruct.IsBufferable = MPU_ACCESS_NOT_BUFFERABLE;

  HAL_MPU_ConfigRegion(&MPU_InitStruct);
  /* Enables the MPU */
  HAL_MPU_Enable(MPU_HFNMI_PRIVDEF);

}

/**
  * @brief BSP Push Button callback
  * @param Button Specifies the pressed button
  * @retval None
  */
void BSP_PB_Callback(Button_TypeDef Button)
{
  if (Button == BUTTON_USER)
  {
    BspButtonState = BUTTON_PRESSED;
  }
}

void Error_Handler(void)
{
  __disable_irq();
  while (1)
  {
  }
}
